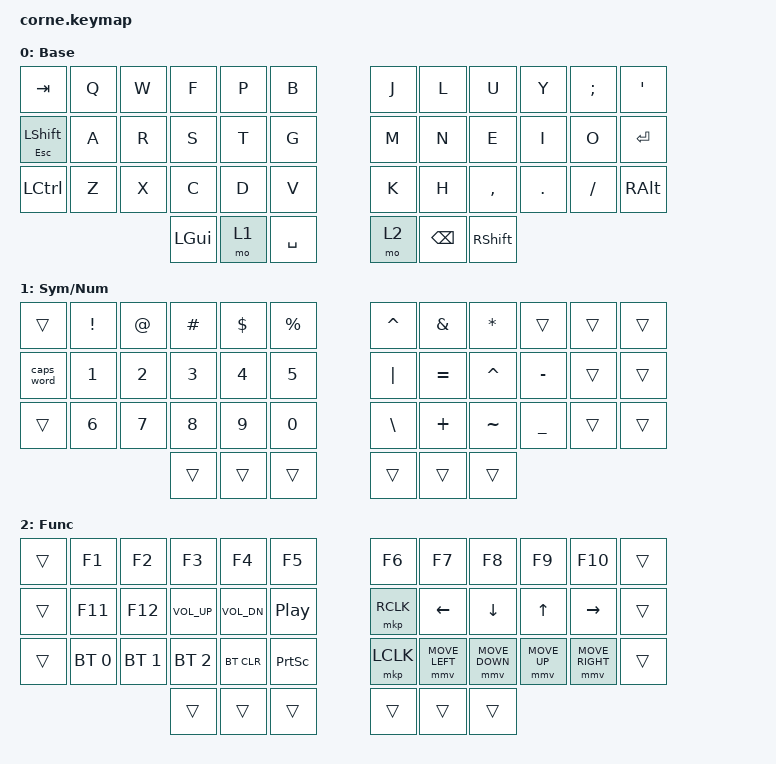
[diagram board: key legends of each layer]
/*
 * Copyright (c) 2020 The ZMK Contributors
 *
 * SPDX-License-Identifier: MIT
 */

#include <behaviors.dtsi>
#include <dt-bindings/zmk/keys.h>
#include <dt-bindings/zmk/bt.h>
#include <dt-bindings/zmk/pointing.h>

/ {
        combos {
            compatible = "zmk,combos";
            combo_lpar {
                timeout-ms = <50>;
                // P, B
                key-positions = <4 5>;
                bindings = <&kp LPAR>;
            };

            combo_rpar {
                timeout-ms = <50>;
                // J, L
                key-positions = <6 7>;
                bindings = <&kp RPAR>;
            };

            combo_lbkt {
                timeout-ms = <50>;
                // T, G
                key-positions = <16 17>;
                bindings = <&kp LBKT>;
            };

            combo_rbkt {
                timeout-ms = <50>;
                // M, N
                key-positions = <18 19>;
                bindings = <&kp RBKT>;
            };

            // combo_tilde {
            //     timeout-ms = <50>;
            //     // I,O
            //     key-positions = <21 22>;
            //     bindings = <&kp TILDE>;
            // };

            // combo_grave {
            //     timeout-ms = <50>;
            //     // O, RET
            //     key-positions = <22 23>;
            //     bindings = <&kp GRAVE>;
            // };

            combo_lbrc {
                timeout-ms = <50>;
                // D, V
                key-positions = <28 29>;
                bindings = <&kp LBRC>;
            };

            combo_rbrc {
                timeout-ms = <50>;
                // K, H
                key-positions = <30 31>;
                bindings = <&kp RBRC>;
            };

            // combo_bslh {
            //     timeout-ms = <50>;
            //     // ., /
            //     key-positions = <33 34>;
            //     bindings = <&kp BSLH>;
            // };

            // combo_pipe {
            //     timeout-ms = <50>;
            //     // /, ALT
            //     key-positions = <34 35>;
            //     bindings = <&kp PIPE>;
            // };
        };

        keymap {
                compatible = "zmk,keymap";

                default_layer {
                        display-name="Base";
// -----------------------------------------------------------------------------------------
// | TAB |  Q  |  W  |  F  |  P  |  B  |   |  J  |  L  |  U  |  Y  |  ;  | '   |
// | ESC |  A  |  R  |  S  |  T  |  G  |   |  M  |  N  |  E  |  I  |  O  | RET |
// | CTL |  Z  |  X  |  C  |  D  |  V  |   |  N  |  M  |  ,  |  .  |  /  | ALT |
//                   | GUI | NUM | SPC |   | FUN | BSPC | SHFT |
                        bindings = <
   &kp TAB       &kp Q &kp W &kp F &kp P   &kp B   &kp J &kp L  &kp U     &kp Y   &kp SEMI &kp SQT
   &mt ESC LSHFT &kp A &kp R &kp S &kp T   &kp G   &kp M &kp N  &kp E     &kp I   &kp O    &kp RET
   &kp LCTRL     &kp Z &kp X &kp C &kp D   &kp V   &kp K &kp H  &kp COMMA &kp DOT &kp FSLH &kp RALT
                    &kp LGUI &mo 1 &kp SPACE   &mo 2 &kp BSPC &kp RSHFT
                        >;
                };
                lower_layer {
                        display-name="Sym/Num";
// -----------------------------------------------------------------------------------------
// |    |  !  |  @  |  #  |  $  |  %  |   |  ^ |  &  |  *  |     |     |     |
// |CAP |  1  |  2  |  3  |  4  |  5  |   |  | |  =  |  `  |  -  |  -  |     |
// |    |  6  |  7  |  8  |  9  |  0  |   |  \ |  +  |  ~  |  _  |  _  |     |
//                  |     |     |     |   |    |     |     |
                        bindings = <
   &trans     &kp EXCL &kp AT &kp HASH &kp DLLR  &kp PRCNT &kp CARET &kp AMPS &kp STAR &trans &trans  &trans
   &caps_word &kp N1   &kp N2 &kp N3   &kp N4 &kp N5  &kp PIPE &kp EQUAL &kp CARET &kp MINUS &trans &trans
   &trans     &kp N6   &kp N7 &kp N8   &kp N9 &kp N0  &kp BSLH &kp PLUS  &kp TILDE &kp UNDER &trans &trans
                             &trans   &trans    &trans     &trans  &trans &trans
                        >;
                };

                raise_layer {
                        display-name="Func";
// -----------------------------------------------------------------------------------------
// |    | F1  | F2  | F3  | F4  | F5  |   |  F6  |  F7 |  F8 |  F9 | F10 |     |
// |    | F11 | F12 | VUP | VDN |PLAY |   | RCLK |  LT |  DN |  UP |  RT |     |
// |    | BT1 | BT2 | BT3 | BTC |PSCRN|   | LCLK | MLT | MDN | MUP | MRT |     |
//                  |     |     |     |   |      |     |     |
                        bindings = <
   &trans &kp F1  &kp F2  &kp F3       &kp F4       &kp F5    &kp F6   &kp F7    &kp F8   &kp F9 &kp F10   &trans
   &trans &kp F11 &kp F12 &kp C_VOL_UP &kp C_VOL_DN &kp C_PP  &mkp RCLK &kp LEFT &kp DOWN &kp UP &kp RIGHT &trans
   &trans &bt BT_SEL 0 &bt BT_SEL 1 &bt BT_SEL 2 &bt BT_CLR &kp PSCRN  &mkp LCLK &mmv MOVE_LEFT &mmv MOVE_DOWN &mmv MOVE_UP &mmv MOVE_RIGHT &trans
                                  &trans   &trans   &trans      &trans &trans &trans
                        >;
                };
        };

};
